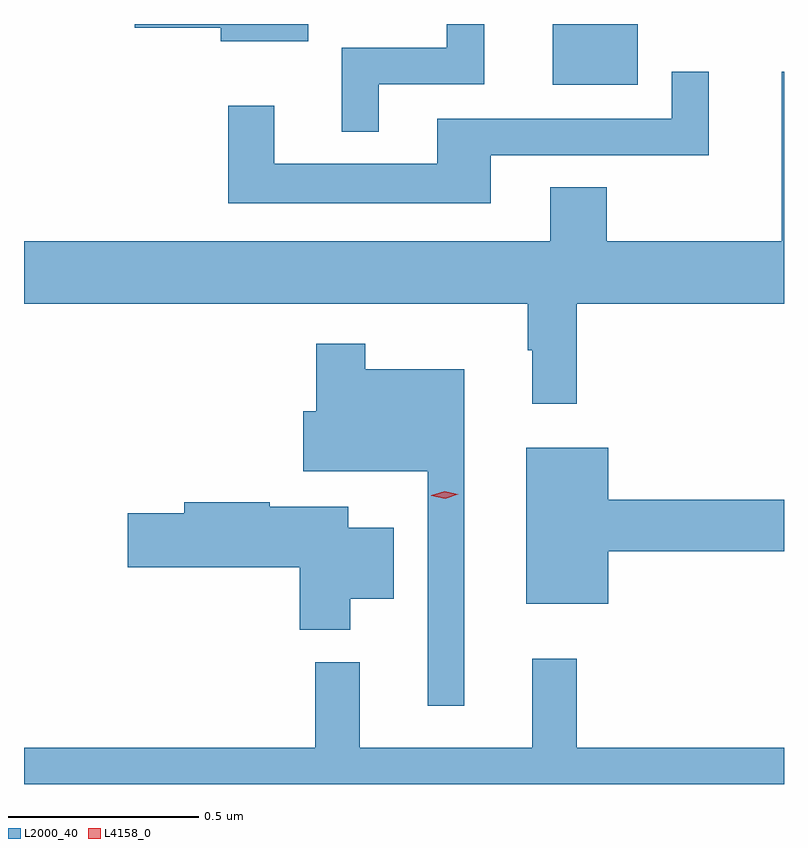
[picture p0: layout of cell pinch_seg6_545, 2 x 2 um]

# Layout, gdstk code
import gdstk
lib = gdstk.Library(unit=1e-6, precision=1e-09)
def R(c, l, rs):  # rectangles x0, y0, x1, y1
    for r in rs: c.add(gdstk.rectangle(r[:2], r[2:], *l))
def P(c, l, *ps):  # polygons
    for p in ps: c.add(gdstk.Polygon(p, *l))
L2000_40 = (2000, 40)
L4158_0 = (4158, 0)

pinch_seg6_545 = lib.new_cell('pinch_seg6_545')
R(pinch_seg6_545, L2000_40, [(782.948,946.58,783.172,946.74)])
P(pinch_seg6_545, L2000_40, [(782.305,946.74),(781.848,946.74),(781.848,946.73),(782.075,946.73),(782.075,946.694),(782.305,946.694)],
  [(782.491,946.581),(782.768,946.581),(782.768,946.74),(782.67,946.74),(782.67,946.677),(782.393,946.677),(782.393,946.457),(782.491,946.457)],
  [(783.011,946.004),(783.557,946.004),(783.557,946.615),(783.551,946.615),(783.551,946.168),(783.09,946.168),(783.09,946.31),(782.942,946.31),(782.942,946.168),(781.557,946.168),(781.557,946.004),(782.883,946.004),(782.883,945.881),(782.894,945.881),(782.894,945.741),(783.011,945.741)],
  [(782.785,946.395),(783.359,946.395),(783.359,946.615),(783.261,946.615),(783.261,946.491),(782.645,946.491),(782.645,946.372),(782.215,946.372),(782.215,946.525),(782.094,946.525),(782.094,946.268),(782.785,946.268)],
  [(782.716,945.832),(782.455,945.832),(782.455,945.898),(782.326,945.898),(782.326,945.721),(782.292,945.721),(782.292,945.563),(782.619,945.563),(782.619,944.946),(782.716,944.946)],
  [(783.094,945.352),(783.557,945.352),(783.557,945.488),(783.094,945.488),(783.094,945.625),(782.879,945.625),(782.879,945.215),(783.094,945.215)],
  [(782.416,945.227),(782.53,945.227),(782.53,945.415),(782.41,945.415),(782.41,945.469),(782.204,945.469),(782.204,945.482),(781.979,945.482),(781.979,945.452),(781.83,945.452),(781.83,945.31),(782.282,945.31),(782.282,945.146),(782.416,945.146)],
  [(783.557,944.836),(783.011,944.836),(783.011,945.07),(782.894,945.07),(782.894,944.836),(782.441,944.836),(782.441,945.061),(782.323,945.061),(782.323,944.836),(781.557,944.836),(781.557,944.74),(783.557,944.74)])
P(pinch_seg6_545, L4158_0, [(782.665,945.491),(782.629,945.499),(782.629,945.499),(782.629,945.5),(782.664,945.511),(782.7,945.503),(782.7,945.502),(782.7,945.502)])

lib.write_gds('pinch_seg6_545.gds')
